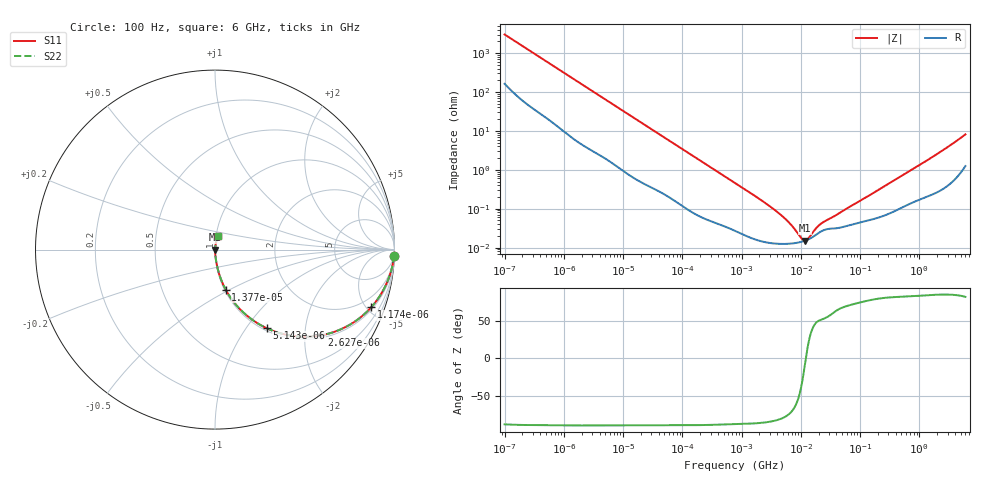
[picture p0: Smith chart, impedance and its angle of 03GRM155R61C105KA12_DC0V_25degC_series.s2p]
!Murata Part Number: GRM155R61C105KA12
!These Parameters are Measured in Series Mode Connection
!  o--ll--o
!Port1  Port2
!  o------o
!Operation Temp=25[degC], DC Bias Voltage=0[V]
!Freq. Start=100[Hz] Stop=6[GHz], 401[Steps]
!Data Generated on Mar 6, 2017
# Hz S RI R 50
!Freq.(Hz) S11(Real) S11(Imag) S21(Real) S21(Imag) S12(Real) S12(Imag) S22(Real) S22(Imag)
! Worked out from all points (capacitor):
!   401 points, 100 Hz to 6 GHz, reference 50 ohm
!   read as one part in series: C = 526 nF near 109.4 Hz
!   lowest |Z| = 15.2 mohm at 11.89 MHz (marker M1)
!   series resonance near 12.15 MHz, so ESL is about 330 pH
!   S11 on the Smith chart (normalised r, x): 100 Hz: 4, -60; 1.174 kHz: 1.16, -5.37; 2.627 kHz: 1.07, -2.43; 5.143 kHz: 1.04, -1.26; 13.77 kHz: 1.01, -0.48; 6 GHz: 1.02, +0.16
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100  0.9971 -0.033  0.00288 0.033  0.00288 0.033  0.9971 -0.033
383.1434  0.9805 -0.1213  0.0195 0.1213  0.0195 0.1213  0.9805 -0.1213
1173.534  0.8711 -0.3206  0.1289 0.3206  0.1289 0.3206  0.8711 -0.3206
2008.354  0.7091 -0.4403  0.2909 0.4403  0.2909 0.4403  0.7091 -0.4403
2627.318  0.5931 -0.4772  0.4069 0.4772  0.4069 0.4772  0.5931 -0.4772
5142.725  0.2888 -0.4384  0.7112 0.4384  0.7112 0.4384  0.2888 -0.4384
8047.242  0.1482 -0.341  0.8518 0.341  0.8518 0.341  0.1482 -0.341
13771.83  0.0596 -0.223  0.9404 0.223  0.9404 0.223  0.0596 -0.223
40334.87  0.00958 -0.082  0.9904 0.082  0.9904 0.082  0.00958 -0.082
129199.4  0.00161 -0.0265  0.9984 0.0265  0.9984 0.0265  0.00161 -0.0265
774596.7  0.000291 -0.00459  0.9997 0.00459  0.9997 0.00459  0.000291 -0.00459
4246196  0.000126 -0.000758  0.9999 0.000758  0.9999 0.000758  0.000126 -0.000758
6644369  0.000127 -0.000386  0.9999 0.000386  0.9999 0.000386  0.000127 -0.000386
1.039699e7  0.000142 -9.37e-05  0.9999 9.37e-05  0.9999 9.37e-05  0.000142 -9.37e-05
1.189169e7  0.000151 -1.28e-05  0.9998 1.28e-05  0.9998 1.28e-05  0.000151 -1.28e-05
1.300572e7  0.00016 4.04e-05  0.9998 -4.04e-05  0.9998 -4.04e-05  0.00016 4.04e-05
1.555665e7  0.000184 0.000145  0.9998 -0.000145  0.9998 -0.000145  0.000184 0.000145
1.946e7  0.000232 0.000267  0.9998 -0.000267  0.9998 -0.000267  0.000232 0.000267
2.327686e7  0.000272 0.000345  0.9997 -0.000345  0.9997 -0.000345  0.000272 0.000345
3.124326e8  0.00077 0.00445  0.9992 -0.00445  0.9992 -0.00445  0.00077 0.00445
1.637704e9  0.00272 0.0208  0.9973 -0.0208  0.9973 -0.0208  0.00272 0.0208
6e9  0.0185 0.078  0.9815 -0.078  0.9815 -0.078  0.0185 0.078
